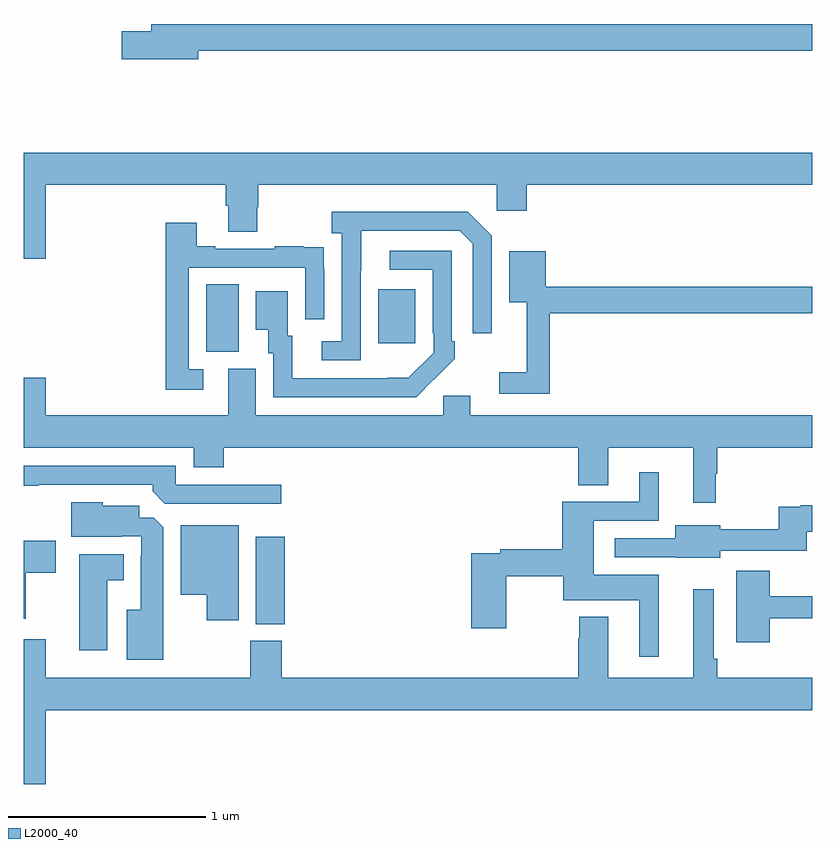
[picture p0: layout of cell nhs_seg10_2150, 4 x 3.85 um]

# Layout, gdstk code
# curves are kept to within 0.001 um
import gdstk
lib = gdstk.Library(unit=1e-6, precision=1e-09)
def R(c, l, rs):  # rectangles x0, y0, x1, y1
    for r in rs: c.add(gdstk.rectangle(r[:2], r[2:], *l))
def P(c, l, *ps):  # polygons
    for p in ps: c.add(gdstk.Polygon(p, *l))
L2000_40 = (2000, 40)

nhs_seg10_2150 = lib.new_cell('nhs_seg10_2150')
R(nhs_seg10_2150, L2000_40, [(226.178,1279.441,226.325,1279.885), (225.926,1280.821,226.09,1281.164), (226.799,1280.865,226.987,1281.139)])
P(nhs_seg10_2150, L2000_40, [(225.886,1282.348),(229,1282.348),(229,1282.484),(225.647,1282.484),(225.647,1282.448),(225.498,1282.448),(225.498,1282.306),(225.886,1282.306)],
  [(225.112,1281.668),(226.025,1281.668),(226.025,1281.562),(226.037,1281.562),(226.037,1281.43),(226.185,1281.43),(226.185,1281.555),(226.19,1281.555),(226.19,1281.668),(227.4,1281.668),(227.4,1281.537),(227.552,1281.537),(227.552,1281.668),(229,1281.668),(229,1281.832),(225,1281.832),(225,1281.294),(225.112,1281.294)],
  [(226.71,1281.235),(226.711,1281.435),(227.211,1281.435),(227.277,1281.369),(227.277,1280.916),(227.373,1280.916),(227.373,1281.411),(227.252,1281.532),(226.563,1281.532),(226.563,1281.422),(226.614,1281.422),(226.614,1280.874),(226.512,1280.874),(226.512,1280.778),(226.71,1280.778)],
  [(225.91,1280.733),(225.837,1280.733),(225.837,1281.249),(226.428,1281.249),(226.428,1280.988),(226.524,1280.988),(226.524,1281.242),(226.523,1281.242),(226.523,1281.351),(226.421,1281.351),(226.421,1281.358),(226.273,1281.358),(226.273,1281.345),(225.973,1281.345),(225.973,1281.358),(225.877,1281.358),(225.877,1281.475),(225.721,1281.475),(225.721,1280.628),(225.91,1280.628)],
  [(227.081,1280.683),(227.082,1280.682),(227.187,1280.787),(227.187,1280.875),(227.172,1280.875),(227.172,1281.333),(226.857,1281.333),(226.857,1281.237),(227.076,1281.237),(227.076,1280.917),(227.079,1280.917),(227.079,1280.817),(226.951,1280.689),(226.363,1280.688),(226.363,1280.904),(226.339,1280.904),(226.339,1281.13),(226.178,1281.13),(226.178,1280.933),(226.241,1280.933),(226.241,1280.814),(226.266,1280.814),(226.266,1280.592),(226.99,1280.592)],
  [(227.669,1281.016),(229,1281.016),(229,1281.152),(227.649,1281.152),(227.649,1281.331),(227.462,1281.331),(227.462,1281.074),(227.552,1281.074),(227.552,1280.719),(227.412,1280.719),(227.412,1280.61),(227.669,1280.61)],
  [(228.509,1280.204),(228.517,1280.204),(228.517,1280.336),(229,1280.336),(229,1280.5),(227.266,1280.5),(227.266,1280.598),(227.127,1280.598),(227.127,1280.5),(226.177,1280.5),(226.177,1280.736),(226.037,1280.736),(226.037,1280.5),(225.112,1280.5),(225.112,1280.689),(225,1280.689),(225,1280.336),(225.863,1280.336),(225.863,1280.237),(226.016,1280.237),(226.016,1280.336),(227.813,1280.336),(227.813,1280.146),(227.965,1280.146),(227.965,1280.336),(228.395,1280.336),(228.395,1280.055),(228.509,1280.055)],
  [(226.306,1280.148),(225.771,1280.148),(225.771,1280.244),(225,1280.244),(225,1280.143),(225.076,1280.143),(225.076,1280.148),(225.656,1280.148),(225.656,1280.114),(225.717,1280.052),(226.306,1280.052)],
  [(228.22,1279.69),(227.89,1279.69),(227.89,1279.965),(228.22,1279.965),(228.22,1280.212),(228.122,1280.212),(228.122,1280.061),(227.732,1280.061),(227.732,1279.82),(227.416,1279.82),(227.416,1279.8),(227.27,1279.8),(227.27,1279.419),(227.448,1279.419),(227.448,1279.684),(227.737,1279.684),(227.737,1279.562),(228.122,1279.562),(228.122,1279.275),(228.22,1279.275)],
  [(225.709,1279.931),(225.66,1279.98),(225.586,1279.98),(225.586,1280.041),(225.402,1280.041),(225.402,1280.059),(225.242,1280.059),(225.242,1279.883),(225.497,1279.883),(225.497,1279.887),(225.597,1279.887),(225.597,1279.787),(225.593,1279.787),(225.593,1279.513),(225.524,1279.513),(225.524,1279.259),(225.709,1279.259)],
  [(228.532,1279.812),(228.972,1279.812),(228.972,1279.909),(229,1279.909),(229,1280.043),(228.94,1280.043),(228.94,1280.035),(228.829,1280.035),(228.829,1279.921),(228.532,1279.921),(228.532,1279.942),(228.305,1279.942),(228.305,1279.875),(227.997,1279.875),(227.997,1279.779),(228.309,1279.779),(228.309,1279.778),(228.532,1279.778)],
  [(226.09,1279.942),(225.797,1279.942),(225.797,1279.589),(225.929,1279.589),(225.929,1279.461),(226.09,1279.461)],
  [(225.01,1279.702),(225.163,1279.702),(225.163,1279.864),(225,1279.864),(225,1279.469),(225.01,1279.469)],
  [(225.424,1279.664),(225.508,1279.664),(225.508,1279.795),(225.281,1279.795),(225.281,1279.307),(225.424,1279.307)],
  [(228.785,1279.47),(229,1279.47),(229,1279.581),(228.785,1279.581),(228.785,1279.711),(228.614,1279.711),(228.614,1279.35),(228.785,1279.35)],
  [(225.112,1279.004),(229,1279.004),(229,1279.168),(228.517,1279.168),(228.517,1279.264),(228.499,1279.264),(228.499,1279.618),(228.395,1279.618),(228.395,1279.168),(227.965,1279.168),(227.965,1279.477),(227.818,1279.477),(227.818,1279.37),(227.813,1279.37),(227.813,1279.168),(226.31,1279.168),(226.31,1279.356),(226.15,1279.356),(226.15,1279.168),(225.112,1279.168),(225.112,1279.363),(225,1279.363),(225,1278.63),(225.112,1278.63)])

lib.write_gds('nhs_seg10_2150.gds')
